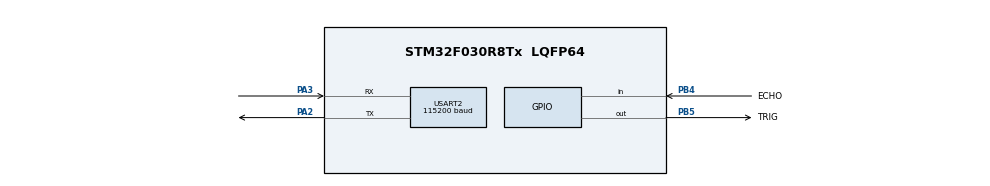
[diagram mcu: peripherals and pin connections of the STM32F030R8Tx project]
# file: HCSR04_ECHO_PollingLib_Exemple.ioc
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Mcu.Family=STM32F0
Mcu.Name=STM32F030R8Tx
Mcu.Package=LQFP64
PA2.Mode=Asynchronous
PA2.Signal=USART2_TX
PA3.Mode=Asynchronous
PA3.Signal=USART2_RX
PB4.GPIO_Label=ECHO
PB4.Signal=GPIO_Input
PB5.GPIO_Label=TRIG
PB5.GPIO_PuPd=GPIO_PULLDOWN
PB5.Signal=GPIO_Output
ProjectManager.HeapSize=0x200
ProjectManager.StackSize=0x400
ProjectManager.TargetToolchain=STM32CubeIDE
TIM1.Prescaler=7
USART2.BaudRate=115200
USART2.VirtualMode-Asynchronous=VM_ASYNC
VP_TIM1_VS_ClockSourceINT.Mode=Internal
board=custom

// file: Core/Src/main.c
/* USER CODE BEGIN Header */
/**
  ******************************************************************************
  * @file           : main.c
  * @brief          : Main program body
  ******************************************************************************
  * @attention
  *
  * Copyright (c) 2025 STMicroelectronics.
  * All rights reserved.
  *
  * This software is licensed under terms that can be found in the LICENSE file
  * in the root directory of this software component.
  * If no LICENSE file comes with this software, it is provided AS-IS.
  *
  ******************************************************************************
  */
/* USER CODE END Header */
#include "main.h"

/* USER CODE BEGIN Includes */
#include <stdlib.h>
#include "HCSR04.h"
/* USER CODE END Includes */

TIM_HandleTypeDef htim1;

UART_HandleTypeDef huart2;

void SystemClock_Config(void);
static void MX_GPIO_Init(void);
static void MX_TIM1_Init(void);
static void MX_USART2_UART_Init(void);

/* USER CODE BEGIN 0 */

int _write(int file, char *ptr, int len)
{
  // Ez a sor mondja meg, hogy keressen egy huart2-t a kódban bárhol
  extern UART_HandleTypeDef huart2;

  HAL_UART_Transmit(&huart2, (uint8_t*)ptr, len, 10);
  return len;
}
/* USER CODE END 0 */

int main(void)
{

  /* MCU Configuration--------------------------------------------------------*/

  /* Reset of all peripherals, Initializes the Flash interface and the Systick. */
  HAL_Init();

  /* USER CODE BEGIN Init */
  void delay_us(uint32_t us);
  int get_distance(void);
  int compare(const void *a, const void *b);

  /* USER CODE END Init */

  /* Configure the system clock */
  SystemClock_Config();

  /* Initialize all configured peripherals */
  MX_GPIO_Init();
  MX_TIM1_Init();
  MX_USART2_UART_Init();
  /* USER CODE BEGIN 2 */

  HAL_TIM_Base_Start(&htim1);

  HCSR04_Config sensor;
  sensor.Timer = &htim1;
  sensor.TRIG_Port = TRIG_GPIO_Port;
  sensor.TRIGPin = TRIG_Pin;
  sensor.ECHO_Port = ECHO_GPIO_Port;
  sensor.ECHOPin = ECHO_Pin;

  HCSR04_Init(&sensor);
  /* USER CODE END 2 */

  /* Infinite loop */
  while (1)
  {

    /* USER CODE BEGIN 3 */

	  uint16_t distance = HCSR04_getDistance(&sensor, 15, 0, 1);
	  printf("tavolsag %d mm\r\n", distance);
	  HAL_Delay(250);
  }
  /* USER CODE END 3 */
}

void SystemClock_Config(void)
{
  RCC_OscInitTypeDef RCC_OscInitStruct = {0};
  RCC_ClkInitTypeDef RCC_ClkInitStruct = {0};

  /** Initializes the RCC Oscillators according to the specified parameters
  * in the RCC_OscInitTypeDef structure.
  */
  RCC_OscInitStruct.OscillatorType = RCC_OSCILLATORTYPE_HSI;
  RCC_OscInitStruct.HSIState = RCC_HSI_ON;
  RCC_OscInitStruct.HSICalibrationValue = RCC_HSICALIBRATION_DEFAULT;
  RCC_OscInitStruct.PLL.PLLState = RCC_PLL_NONE;
  if (HAL_RCC_OscConfig(&RCC_OscInitStruct) != HAL_OK)
  {
    Error_Handler();
  }

  /** Initializes the CPU, AHB and APB buses clocks
  */
  RCC_ClkInitStruct.ClockType = RCC_CLOCKTYPE_HCLK|RCC_CLOCKTYPE_SYSCLK
                              |RCC_CLOCKTYPE_PCLK1;
  RCC_ClkInitStruct.SYSCLKSource = RCC_SYSCLKSOURCE_HSI;
  RCC_ClkInitStruct.AHBCLKDivider = RCC_SYSCLK_DIV1;
  RCC_ClkInitStruct.APB1CLKDivider = RCC_HCLK_DIV1;

  if (HAL_RCC_ClockConfig(&RCC_ClkInitStruct, FLASH_LATENCY_0) != HAL_OK)
  {
    Error_Handler();
  }
}

static void MX_TIM1_Init(void)
{

  TIM_ClockConfigTypeDef sClockSourceConfig = {0};
  TIM_MasterConfigTypeDef sMasterConfig = {0};

  htim1.Instance = TIM1;
  htim1.Init.Prescaler = 7;
  htim1.Init.CounterMode = TIM_COUNTERMODE_UP;
  htim1.Init.Period = 65535;
  htim1.Init.ClockDivision = TIM_CLOCKDIVISION_DIV1;
  htim1.Init.RepetitionCounter = 0;
  htim1.Init.AutoReloadPreload = TIM_AUTORELOAD_PRELOAD_DISABLE;
  if (HAL_TIM_Base_Init(&htim1) != HAL_OK)
  {
    Error_Handler();
  }
  sClockSourceConfig.ClockSource = TIM_CLOCKSOURCE_INTERNAL;
  if (HAL_TIM_ConfigClockSource(&htim1, &sClockSourceConfig) != HAL_OK)
  {
    Error_Handler();
  }
  sMasterConfig.MasterOutputTrigger = TIM_TRGO_RESET;
  sMasterConfig.MasterSlaveMode = TIM_MASTERSLAVEMODE_DISABLE;
  if (HAL_TIMEx_MasterConfigSynchronization(&htim1, &sMasterConfig) != HAL_OK)
  {
    Error_Handler();
  }

}

static void MX_USART2_UART_Init(void)
{

  huart2.Instance = USART2;
  huart2.Init.BaudRate = 115200;
  huart2.Init.WordLength = UART_WORDLENGTH_8B;
  huart2.Init.StopBits = UART_STOPBITS_1;
  huart2.Init.Parity = UART_PARITY_NONE;
  huart2.Init.Mode = UART_MODE_TX_RX;
  huart2.Init.HwFlowCtl = UART_HWCONTROL_NONE;
  huart2.Init.OverSampling = UART_OVERSAMPLING_16;
  huart2.Init.OneBitSampling = UART_ONE_BIT_SAMPLE_DISABLE;
  huart2.AdvancedInit.AdvFeatureInit = UART_ADVFEATURE_NO_INIT;
  if (HAL_UART_Init(&huart2) != HAL_OK)
  {
    Error_Handler();
  }

}

static void MX_GPIO_Init(void)
{
  GPIO_InitTypeDef GPIO_InitStruct = {0};

  /* GPIO Ports Clock Enable */
  __HAL_RCC_GPIOA_CLK_ENABLE();
  __HAL_RCC_GPIOB_CLK_ENABLE();

  /*Configure GPIO pin Output Level */
  HAL_GPIO_WritePin(TRIG_GPIO_Port, TRIG_Pin, GPIO_PIN_RESET);

  /*Configure GPIO pin : ECHO_Pin */
  GPIO_InitStruct.Pin = ECHO_Pin;
  GPIO_InitStruct.Mode = GPIO_MODE_INPUT;
  GPIO_InitStruct.Pull = GPIO_NOPULL;
  HAL_GPIO_Init(ECHO_GPIO_Port, &GPIO_InitStruct);

  /*Configure GPIO pin : TRIG_Pin */
  GPIO_InitStruct.Pin = TRIG_Pin;
  GPIO_InitStruct.Mode = GPIO_MODE_OUTPUT_PP;
  GPIO_InitStruct.Pull = GPIO_PULLDOWN;
  GPIO_InitStruct.Speed = GPIO_SPEED_FREQ_LOW;
  HAL_GPIO_Init(TRIG_GPIO_Port, &GPIO_InitStruct);

}

void Error_Handler(void)
{
  __disable_irq();
  while (1)
  {
  }
}
